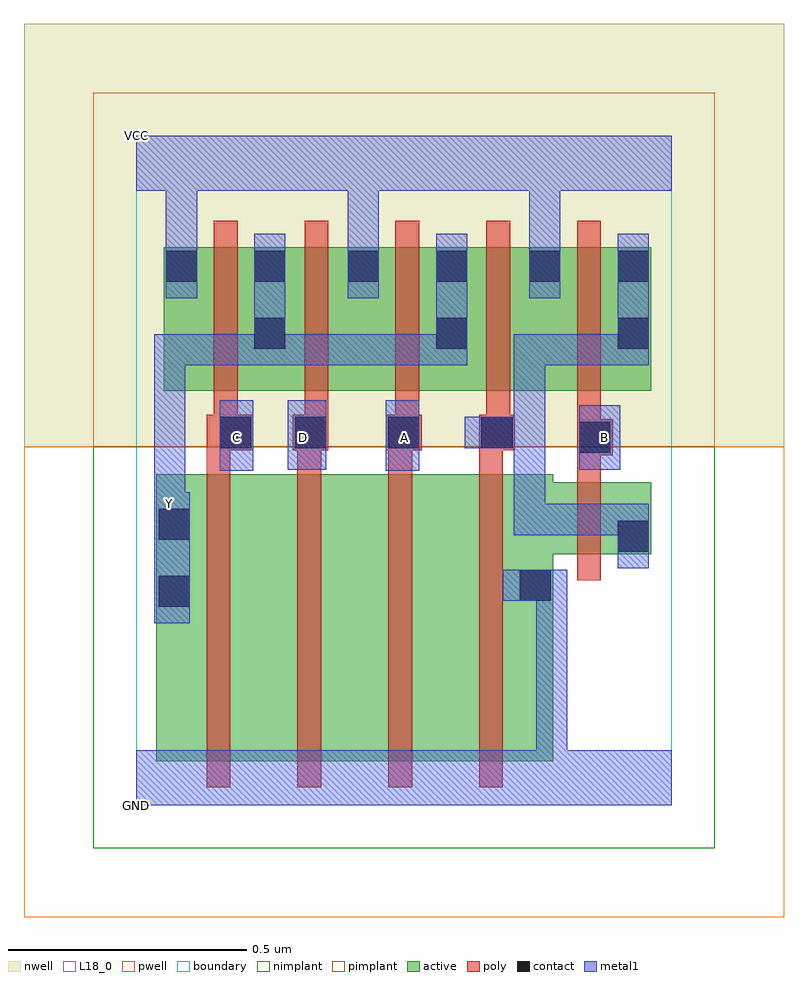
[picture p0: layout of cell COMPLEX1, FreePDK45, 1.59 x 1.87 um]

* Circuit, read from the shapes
.subckt COMPLEX1 A B C D GND VCC Y
M1 n1 C Y VSUBS nfet w=0.6u l=0.05u
M2 n2 D n1 VSUBS nfet w=0.6u l=0.05u
M3 n3 A n2 VSUBS nfet w=0.6u l=0.05u
M4 GND n4 n3 VSUBS nfet w=0.6u l=0.05u
M5 n4 B GND VSUBS nfet w=0.15u l=0.05u
M6 Y C VCC n5 pfet w=0.3u l=0.05u
M7 VCC D Y n5 pfet w=0.3u l=0.05u
M8 Y A VCC n5 pfet w=0.3u l=0.05u
M9 VCC n4 Y n5 pfet w=0.3u l=0.05u
M10 n4 B VCC n5 pfet w=0.3u l=0.05u
.ends

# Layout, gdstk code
import gdstk
lib = gdstk.Library(unit=1e-6, precision=1e-09)
def R(c, l, rs):  # rectangles x0, y0, x1, y1
    for r in rs: c.add(gdstk.rectangle(r[:2], r[2:], *l))
def A(c, l, x, y, w, h, nx, ny, dx, dy):  # array of equal rectangles
    R(c, l, [(x+i*dx, y+j*dy, x+i*dx+w, y+j*dy+h) for i in range(nx) for j in range(ny)])
active = (1, 0)
pwell = (2, 0)
nwell = (3, 0)
nimplant = (4, 0)
pimplant = (5, 0)
poly = (9, 0)
contact = (10, 0)
metal1 = (11, 0)
L18_0 = (18, 0)
boundary = (235, 0)

complex1 = lib.new_cell('COMPLEX1')
A(complex1, active, 0.057, 0.867, 0.26, 0.3, 3, 1, 0.38, 0)
R(complex1, active, [(0.042,0.092,0.267,0.692), (0.267,0.092,0.457,0.692), (0.457,0.092,0.647,0.692), (0.647,0.092,0.872,0.692), (0.797,0.092,0.872,0.675), (0.042,0.095,0.147,0.692), (0.797,0.525,1.077,0.675), (1.002,0.525,1.077,0.675), (0.057,0.867,0.132,1.167), (0.242,0.867,0.512,1.167), (0.622,0.867,0.892,1.167), (1.002,0.867,1.077,1.165), (0.242,0.907,0.317,1.167), (0.622,0.95,0.697,1.167), (0.437,1.007,0.512,1.167), (0.817,1.007,0.892,1.167)])
R(complex1, pwell, [(-0.235,-0.235,1.355,0.75)])
R(complex1, nwell, [(-0.235,0.75,1.355,1.635)])
R(complex1, nimplant, [(-0.09,-0.09,1.21,0.75)])
R(complex1, pimplant, [(-0.09,0.75,1.21,1.49)])
A(complex1, poly, 0.147, 0.037, 0.05, 0.71, 4, 1, 0.19, 0)
A(complex1, poly, 0.147, 0.697, 0.05, 0.095, 4, 1, 0.19, 0)
A(complex1, poly, 0.327, 0.742, 0.075, 0.075, 3, 1, 0.195, 0)
A(complex1, poly, 0.162, 0.767, 0.05, 0.095, 4, 1, 0.19, 0)
A(complex1, poly, 0.162, 0.812, 0.05, 0.41, 5, 1, 0.19, 0)
R(complex1, poly, [(0.922,0.47,0.972,0.73), (0.922,0.68,0.972,0.782), (0.922,0.732,0.997,0.807), (0.147,0.742,0.245,0.817), (0.922,0.757,0.972,0.862)])
A(complex1, contact, 0.332, 0.747, 0.065, 0.065, 3, 1, 0.195, 0)
A(complex1, contact, 0.247, 0.955, 0.065, 0.065, 3, 1, 0.38, 0)
R(complex1, contact, [(0.047,0.415,0.112,0.48), (0.802,0.427,0.867,0.492), (1.007,0.53,1.072,0.595), (0.047,0.555,0.112,0.62), (0.927,0.737,0.992,0.802), (0.175,0.747,0.24,0.812), (0.062,1.095,0.127,1.16), (0.247,1.095,0.312,1.16), (0.442,1.095,0.507,1.16), (0.627,1.095,0.692,1.16), (0.822,1.095,0.887,1.16), (1.007,1.095,1.072,1.16)])
A(complex1, metal1, 0.247, 0.92, 0.065, 0.275, 3, 1, 0.38, 0)
A(complex1, metal1, 0.062, 1.06, 0.065, 0.135, 3, 1, 0.38, 0)
A(complex1, metal1, 0.062, 1.13, 0.065, 0.22, 3, 1, 0.38, 0)
R(complex1, metal1, [(0,0,1.12,0.115), (0.837,0.05,0.902,0.492), (0.037,0.38,0.112,0.655), (0.767,0.427,0.902,0.492), (1.007,0.495,1.072,0.63), (0.037,0.562,0.102,0.697), (0.79,0.565,0.855,0.63), (0.79,0.565,1.072,0.63), (0.79,0.565,0.855,0.812), (1.007,0.565,1.072,0.63), (1.007,0.565,1.072,0.63), (0.037,0.59,0.102,0.655), (0.037,0.632,0.102,0.985), (0.175,0.7,0.245,0.847), (0.522,0.7,0.592,0.847), (0.317,0.702,0.397,0.847), (0.927,0.702,1.012,0.837), (0.687,0.747,0.822,0.812), (0.757,0.747,0.855,0.812), (0.79,0.747,0.855,0.812), (0.79,0.747,0.855,0.985), (0.037,0.92,0.105,0.985), (0.04,0.92,0.105,0.985), (0.04,0.92,0.105,0.985), (0.04,0.92,0.312,0.985), (0.247,0.92,0.312,0.985), (0.247,0.92,0.312,0.985), (0.247,0.92,0.45,0.985), (0.385,0.92,0.45,0.985), (0.385,0.92,0.45,0.985), (0.385,0.92,0.45,0.985), (0.385,0.92,0.692,0.985), (0.79,0.92,0.855,0.985), (0.79,0.92,1.072,0.985), (1.007,0.92,1.072,0.985), (1.007,0.92,1.072,0.985), (0.062,1.13,0.127,1.195), (0.062,1.13,0.127,1.195), (0.442,1.13,0.507,1.195), (0.442,1.13,0.507,1.195), (0,1.285,1.12,1.4), (0.822,1.285,0.887,1.35), (0.822,1.285,0.887,1.35)])
A(complex1, L18_0, 0.062, 1.06, 0.065, 0.135, 3, 1, 0.38, 0)
A(complex1, L18_0, 0.062, 1.13, 0.065, 0.22, 3, 1, 0.38, 0)
R(complex1, L18_0, [(0,0,1.12,0.115), (0.837,0.05,0.902,0.492), (0.037,0.38,0.112,0.655), (0.767,0.427,0.902,0.492), (0.037,0.562,0.102,0.697), (0.037,0.59,0.102,0.655), (0.037,0.597,0.102,0.662), (0.037,0.632,0.102,0.985), (0.175,0.7,0.245,0.847), (0.522,0.7,0.592,0.847), (0.317,0.702,0.397,0.847), (0.927,0.702,1.012,0.837), (0.177,0.737,0.242,0.802), (0.317,0.737,0.382,0.802), (0.527,0.737,0.592,0.802), (0.947,0.737,1.012,0.802), (0.037,0.92,0.105,0.985), (0.04,0.92,0.105,0.985), (0.04,0.92,0.105,0.985), (0.04,0.92,0.312,0.985), (0.247,0.92,0.312,0.985), (0.247,0.92,0.312,0.985), (0.247,0.92,0.312,1.195), (0.247,0.92,0.45,0.985), (0.385,0.92,0.45,0.985), (0.385,0.92,0.45,0.985), (0.385,0.92,0.45,0.985), (0.385,0.92,0.692,0.985), (0.627,0.92,0.692,1.195), (0.062,1.13,0.127,1.195), (0.062,1.13,0.127,1.195), (0.442,1.13,0.507,1.195), (0.442,1.13,0.507,1.195), (0,1.285,1.12,1.4), (0.822,1.285,0.887,1.35), (0.822,1.285,0.887,1.35)])
R(complex1, boundary, [(0,0,1.12,1.4)])
complex1.add(gdstk.Label('A', (0.56,0.77), layer=11, texttype=0))
complex1.add(gdstk.Label('B', (0.98,0.77), layer=11, texttype=0))
complex1.add(gdstk.Label('C', (0.21,0.77), layer=11, texttype=0))
complex1.add(gdstk.Label('D', (0.35,0.77), layer=11, texttype=0))
complex1.add(gdstk.Label('Y', (0.07,0.63), layer=11, texttype=0))
complex1.add(gdstk.Label('VCC', (0,1.4), layer=11, texttype=0))
complex1.add(gdstk.Label('GND', (0,0), layer=11, texttype=0))

lib.write_gds('COMPLEX1.gds')
